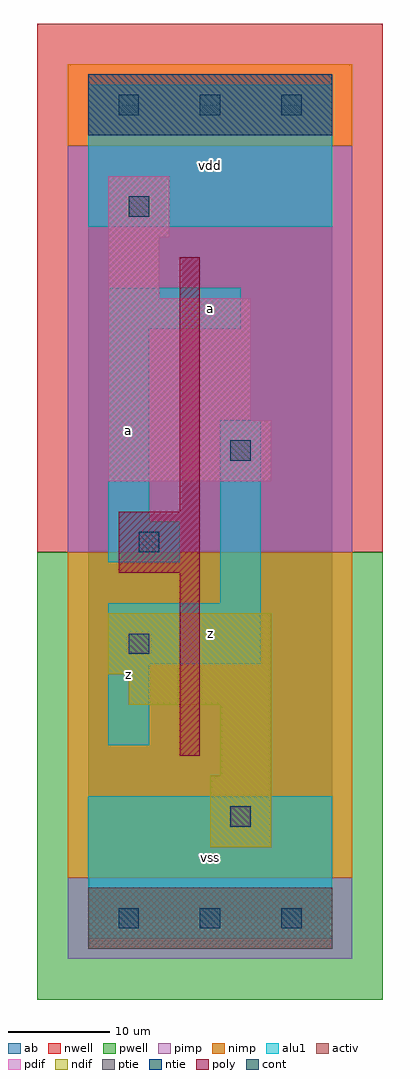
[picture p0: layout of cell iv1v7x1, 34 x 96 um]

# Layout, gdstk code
import gdstk
lib = gdstk.Library(unit=1e-6, precision=1e-09)
def R(c, l, rs):  # rectangles x0, y0, x1, y1
    for r in rs: c.add(gdstk.rectangle(r[:2], r[2:], *l))
def A(c, l, x, y, w, h, nx, ny, dx, dy):  # array of equal rectangles
    R(c, l, [(x+i*dx, y+j*dy, x+i*dx+w, y+j*dy+h) for i in range(nx) for j in range(ny)])
ndif = (3, 0)
pdif = (4, 0)
ntie = (5, 0)
ptie = (6, 0)
cont = (25, 0)
pwell = (41, 0)
nwell = (42, 0)
activ = (43, 0)
pimp = (44, 0)
nimp = (45, 0)
poly = (46, 0)
alu1 = (49, 0)
ab = (63, 0)

iv1v7x1 = lib.new_cell('iv1v7x1')
R(iv1v7x1, ndif, [(12,7,18,14), (13,14,18,21), (4,21,18,24), (2,24,18,30)])
R(iv1v7x1, pdif, [(2,43,18,49), (2,49,16,61), (2,61,7,67), (2,67,8,73)])
R(iv1v7x1, ntie, [(0,77,24,83)])
R(iv1v7x1, ptie, [(0,-3,24,3)])
A(iv1v7x1, cont, 3, -1, 2, 2, 3, 2, 8, 80)
R(iv1v7x1, cont, [(14,9,16,11), (4,26,6,28), (5,36,7,38), (14,45,16,47), (4,69,6,71)])
R(iv1v7x1, pwell, [(-5,-8,29,36)])
R(iv1v7x1, nwell, [(-5,36,29,88)])
R(iv1v7x1, activ, [(0,-3,24,3), (12,7,18,14), (13,14,18,21), (4,21,18,24), (2,24,18,30), (2,43,18,49), (2,49,16,61), (2,61,7,67), (2,67,8,73), (0,77,24,83)])
R(iv1v7x1, pimp, [(-2,-4,26,4), (-2,36,26,76)])
R(iv1v7x1, nimp, [(-2,4,26,36), (-2,76,26,84)])
R(iv1v7x1, poly, [(9,16,11,34), (3,34,11,40), (9,40,11,65)])
R(iv1v7x1, alu1, [(0,-2,24,12), (2,17,6,25), (2,25,17,31), (13,31,17,49), (2,35,9,39), (2,39,6,58), (2,58,15,62), (0,68,24,82)])
R(iv1v7x1, ab, [(0,0,24,80)])
iv1v7x1.add(gdstk.Label('z', (4,24), layer=49, texttype=0))
iv1v7x1.add(gdstk.Label('a', (4,48), layer=49, texttype=0))
iv1v7x1.add(gdstk.Label('vss', (12,6), layer=49, texttype=0))
iv1v7x1.add(gdstk.Label('z', (12,28), layer=49, texttype=0))
iv1v7x1.add(gdstk.Label('vdd', (12,74), layer=49, texttype=0))
iv1v7x1.add(gdstk.Label('a', (12,60), layer=49, texttype=0))

lib.write_gds('iv1v7x1.gds')
